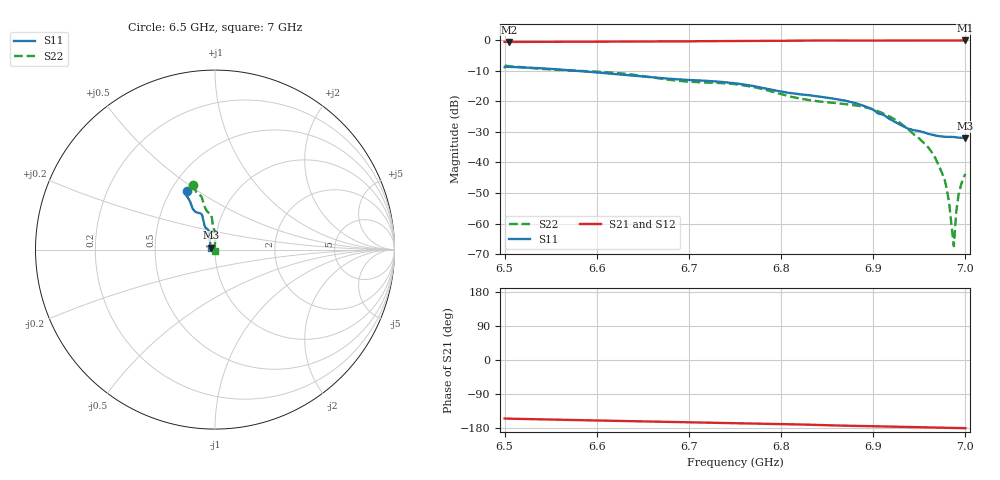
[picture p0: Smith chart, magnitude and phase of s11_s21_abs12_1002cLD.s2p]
! MS46122B
! 1919307/90821646
! 7/29/2022 2:47:02 PM
! C:\USERS\PC_\DESKTOP\MEDICIONES\BANCHA ESTRECHA\65_7GHZ\S11_S21_ABS12_1002CL.S2P
! CHANNEL.1
! TR.MEASUREMENT
! CORRECTED.DATA
# GHZ S RI R 50.0
! FREQ.GHZ  S11RE  S11IM  S21RE  S21IM  S12RE  S12IM  S22RE  S22IM
!; PortSelection: Port_12
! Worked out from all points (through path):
!   201 points, 6.5 GHz to 7 GHz, reference 50 ohm
!   highest |S21| = -0.09 dB at 7 GHz (marker M1); lowest = -0.6 dB at 6.505 GHz (marker M2)
!   lowest |S11| = -32.1 dB at 7 GHz (marker M3), VSWR 1.05, Z = 47.8 + j1.06 ohm
!   |S11| at or under -10 dB: 6.578 GHz to end of sweep
!   |S22| runs from -67.4 to -8.4 dB; largest |S21 - S12| = 0.0084
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6.5  -0.1581 0.3255  -0.8482 -0.4049  -0.8431 -0.4052  -0.1224 0.3622
6.505  -0.1639 0.3274  -0.8472 -0.3979  -0.8443 -0.4015  -0.1191 0.3568
6.585  -0.1427 0.2751  -0.8798 -0.3396  -0.8805 -0.3442  -0.0825 0.3019
6.6275  -0.129 0.2403  -0.8936 -0.3102  -0.893 -0.3135  -0.069 0.2774
6.6675  -0.1126 0.2135  -0.9082 -0.2838  -0.907 -0.285  -0.0544 0.2309
6.75  -0.0695 0.1843  -0.943 -0.2207  -0.939 -0.2233  -0.0208 0.1897
6.835  -0.0431 0.1154  -0.9753 -0.1534  -0.9746 -0.1573  0.000842 0.1025
6.8825  -0.0338 0.0854  -0.9789 -0.1036  -0.9752 -0.106  0.00474 0.0849
6.8975  -0.033 0.0686  -0.9801 -0.0913  -0.9759 -0.0951  0.00329 0.0753
6.9175  -0.0273 0.044  -0.9837 -0.0739  -0.9805 -0.0794  0.00182 0.0568
6.9375  -0.0252 0.0254  -0.9856 -0.0545  -0.9837 -0.0591  0.00058 0.0353
6.95  -0.0249 0.0207  -0.9859 -0.0432  -0.9832 -0.0483  -0.000862 0.0246
6.96  -0.0223 0.0191  -0.9866 -0.0356  -0.9838 -0.0402  -0.00013 0.0174
6.9675  -0.0211 0.0177  -0.9876 -0.0293  -0.9845 -0.0338  0.000401 0.0117
6.9775  -0.0208 0.0161  -0.9879 -0.0195  -0.9851 -0.0246  0.000944 0.00511
6.98  -0.021 0.0157  -0.9872 -0.0178  -0.9845 -0.0233  0.000436 0.00354
6.9825  -0.0211 0.0154  -0.9881 -0.0158  -0.9843 -0.0204  0.000395 0.00206
6.9875  -0.0216 0.0147  -0.9873 -0.0115  -0.9848 -0.017  3.37e-05 -0.000426
6.99  -0.0216 0.0141  -0.9878 -0.00936  -0.9849 -0.0149  7.07e-05 -0.00152
6.9925  -0.0216 0.0135  -0.9879 -0.00692  -0.9861 -0.0129  0.000149 -0.0029
6.995  -0.0219 0.0127  -0.9884 -0.00525  -0.9863 -0.0104  0.00015 -0.00416
7  -0.0224 0.0111  -0.9896 -0.00135  -0.9865 -0.00675  0.000146 -0.00649
